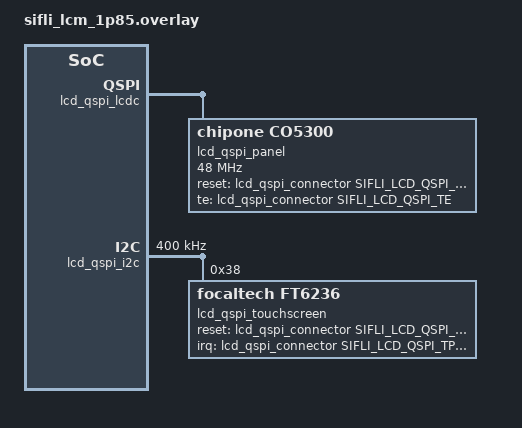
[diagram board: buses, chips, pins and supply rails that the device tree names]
// SPDX-FileCopyrightText: 2026 Core Devices LLC
// SPDX-License-Identifier: (GPL-2.0-only OR BSD-2-Clause)

// SiFli 1.85" 390x450 AMOLED module: a CO5300 panel and an FT6146 touchscreen

#include <dt-bindings/connector/sifli,lcd-qspi-connector.h>
#include <dt-bindings/gpio/gpio.h>
#include <dt-bindings/interrupt-controller/irq.h>

&lcd_qspi_lcdc {
	status = "okay";

	lcd_qspi_panel: panel {
		compatible = "chipone,co5300";
		reset-gpios = <&lcd_qspi_connector SIFLI_LCD_QSPI_RESET GPIO_ACTIVE_LOW>;
		te-gpios = <&lcd_qspi_connector SIFLI_LCD_QSPI_TE GPIO_ACTIVE_HIGH>;
		spi-max-frequency = <48000000>;

		panel-timing {
			clock-frequency = <10530000>;
			hactive = <390>;
			vactive = <450>;
			hback-porch = <0>;
			hfront-porch = <0>;
			hsync-len = <0>;
			vback-porch = <0>;
			vfront-porch = <0>;
			vsync-len = <0>;
		};
	};
};

&lcd_qspi_i2c {
	clock-frequency = <400000>;
	status = "okay";

	lcd_qspi_touchscreen: touchscreen@38 {
		compatible = "focaltech,ft6236";
		reg = <0x38>;
		pinctrl-0 = <&lcd_qspi_touch_default>;
		pinctrl-names = "default";
		interrupt-parent = <&lcd_qspi_connector>;
		interrupts = <SIFLI_LCD_QSPI_TP_INT IRQ_TYPE_EDGE_FALLING>;
		reset-gpios = <&lcd_qspi_connector SIFLI_LCD_QSPI_TP_RESET GPIO_ACTIVE_LOW>;
		touchscreen-size-x = <390>;
		touchscreen-size-y = <450>;
	};
};
